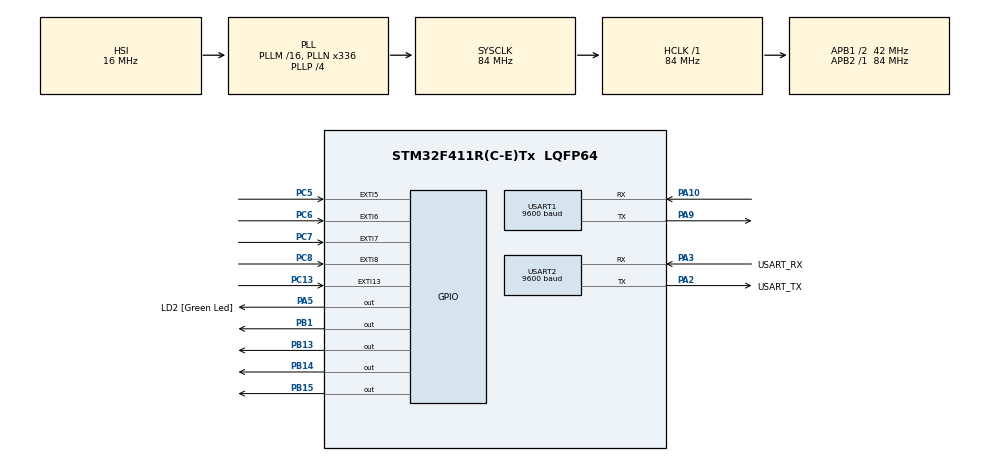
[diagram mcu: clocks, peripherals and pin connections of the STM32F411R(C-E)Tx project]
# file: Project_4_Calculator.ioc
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Mcu.Family=STM32F4
Mcu.Name=STM32F411R(C-E)Tx
Mcu.Package=LQFP64
NVIC.EXTI15_10_IRQn=true\:0\:0\:false\:false\:true\:true\:true
NVIC.EXTI9_5_IRQn=true\:0\:0\:false\:false\:true\:true\:true
NVIC.PriorityGroup=NVIC_PRIORITYGROUP_0
NVIC.TIM3_IRQn=true\:0\:0\:false\:false\:true\:true\:true
NVIC.USART2_IRQn=true\:0\:0\:false\:false\:true\:true\:true
PA10.Mode=Asynchronous
PA10.Signal=USART1_RX
PA13.GPIO_Label=TMS
PA13.Mode=Serial_Wire
PA13.Signal=SYS_JTMS-SWDIO
PA14.GPIO_Label=TCK
PA14.Mode=Serial_Wire
PA14.Signal=SYS_JTCK-SWCLK
PA2.GPIO_Label=USART_TX
PA2.Mode=Asynchronous
PA2.Signal=USART2_TX
PA3.GPIO_Label=USART_RX
PA3.Mode=Asynchronous
PA3.Signal=USART2_RX
PA5.GPIO_Label=LD2 [Green Led]
PA5.GPIO_PuPd=GPIO_PULLDOWN
PA5.Signal=GPIO_Output
PA9.Mode=Asynchronous
PA9.Signal=USART1_TX
PB1.GPIO_PuPd=GPIO_PULLDOWN
PB1.Signal=GPIO_Output
PB13.GPIO_PuPd=GPIO_PULLDOWN
PB13.Signal=GPIO_Output
PB14.GPIO_PuPd=GPIO_PULLDOWN
PB14.Signal=GPIO_Output
PB15.GPIO_PuPd=GPIO_PULLDOWN
PB15.Signal=GPIO_Output
PB3.GPIO_Label=SWO
PB3.Signal=SYS_JTDO-SWO
PC13-ANTI_TAMP.Signal=GPXTI13
PC14-OSC32_IN.Mode=LSE-External-Oscillator
PC14-OSC32_IN.Signal=RCC_OSC32_IN
PC15-OSC32_OUT.Mode=LSE-External-Oscillator
PC15-OSC32_OUT.Signal=RCC_OSC32_OUT
PC5.GPIO_ModeDefaultEXTI=GPIO_MODE_IT_FALLING
PC5.GPIO_PuPd=GPIO_PULLUP
PC5.Signal=GPXTI5
PC6.GPIO_ModeDefaultEXTI=GPIO_MODE_IT_FALLING
PC6.GPIO_PuPd=GPIO_PULLUP
PC6.Signal=GPXTI6
PC7.GPIO_ModeDefaultEXTI=GPIO_MODE_IT_FALLING
PC7.GPIO_PuPd=GPIO_PULLUP
PC7.Signal=GPXTI7
PC8.GPIO_ModeDefaultEXTI=GPIO_MODE_IT_FALLING
PC8.GPIO_PuPd=GPIO_PULLUP
PC8.Signal=GPXTI8
PH0\ -\ OSC_IN.Mode=HSE-External-Clock-Source
PH0\ -\ OSC_IN.Signal=RCC_OSC_IN
PH1\ -\ OSC_OUT.Mode=HSE-External-Clock-Source
PH1\ -\ OSC_OUT.Signal=RCC_OSC_OUT
ProjectManager.HeapSize=0x200
ProjectManager.StackSize=0x400
ProjectManager.TargetToolchain=STM32CubeIDE
RCC.48MHZClocksFreq_Value=84000000
RCC.AHBFreq_Value=84000000
RCC.APB1CLKDivider=RCC_HCLK_DIV2
RCC.APB1Freq_Value=42000000
RCC.APB1TimFreq_Value=84000000
RCC.APB2Freq_Value=84000000
RCC.APB2TimFreq_Value=84000000
RCC.CortexFreq_Value=84000000
RCC.FLatency-AdvancedSettings=FLASH_LATENCY_2
RCC.HCLKFreq_Value=84000000
RCC.HSE_VALUE=8000000
RCC.HSI_VALUE=16000000
RCC.PLLN=336
RCC.PLLP=RCC_PLLP_DIV4
RCC.SYSCLKFreq_VALUE=84000000
RCC.SYSCLKSource=RCC_SYSCLKSOURCE_PLLCLK
RCC.VCOOutputFreq_Value=336000000
USART1.BaudRate=9600
USART1.VirtualMode=VM_ASYNC
USART2.BaudRate=9600
USART2.VirtualMode=VM_ASYNC
VP_TIM3_VS_ClockSourceINT.Mode=Internal
board=NUCLEO-F411RE

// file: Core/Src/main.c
/* USER CODE BEGIN Header */
/**
  ******************************************************************************
  * @file           : main.c
  * @brief          : Main program body
  ******************************************************************************
  * @attention
  *
  * <h2><center>&copy; Copyright (c) 2020 STMicroelectronics.
  * All rights reserved.</center></h2>
  *
  * This software component is licensed by ST under BSD 3-Clause license,
  * the "License"; You may not use this file except in compliance with the
  * License. You may obtain a copy of the License at:
  *                        opensource.org/licenses/BSD-3-Clause
  *
  ******************************************************************************
  */
/* USER CODE END Header */
#include "main.h"

/* USER CODE BEGIN Includes */
#include "string.h"
#include "stdlib.h"
#include "stdbool.h"
#include "float.h"
#include "stdio.h"
#include "memory.h"
#include "stdint.h"
#include "stm32f4xx_hal_rcc.h"
#include "stm32f4xx_hal.h"
#include "stm32f4xx_hal_exti.h"
#include "stm32f4xx_hal_flash_ex.h"
#include "stm32f4xx_hal_flash.h"
#include "stm32f4xx_hal_gpio.h"

/* USER CODE END Includes */

/* USER CODE BEGIN PD */
#define EEPROM_ADDR 0x08008000
#define EEPROM_lastCounterInt (EEPROM_ADDR)
#define FLASH_PROGRAM_BYTE	((uint32_t)0x00)
#define FLASH_PROGRAM_HWORD	((uint32_t)0x01)
#define FLASH_PROGRAM_WORD	((uint32_t)0x02)
/* USER CODE END PD */

TIM_HandleTypeDef htim3;

UART_HandleTypeDef huart1;
UART_HandleTypeDef huart2;

/* USER CODE BEGIN PV */
char keyChar = 0;
uint16_t key = 0;
uint32_t resultInt;

int blueButton = 0;

int step;

/* USER CODE END PV */

void SystemClock_Config(void);
static void MX_GPIO_Init(void);
static void MX_USART2_UART_Init(void);
static void MX_TIM3_Init(void);
static void MX_USART1_UART_Init(void);
/* USER CODE BEGIN PFP */
void screenClear(void);
uint16_t keyPadScan(void);
void writeEEPROM(void);
/* USER CODE END PFP */

/* USER CODE BEGIN 0 */
char allBuffer[8];
char resultString[8];
/* USER CODE END 0 */

int main(void)
{

  /* MCU Configuration--------------------------------------------------------*/

  /* Reset of all peripherals, Initializes the Flash interface and the Systick. */
  HAL_Init();

  /* Configure the system clock */
  SystemClock_Config();

  /* Initialize all configured peripherals */
  MX_GPIO_Init();
  MX_USART2_UART_Init();
  MX_TIM3_Init();
  MX_USART1_UART_Init();
  /* USER CODE BEGIN 2 */

	uint8_t clearInstruction[]={0x7C, 0x2D};
	HAL_UART_Transmit(&huart1, (uint8_t *) clearInstruction, sizeof(clearInstruction), HAL_MAX_DELAY);

	uint8_t screenSettings[]={0x7C, 0xBB};
	HAL_UART_Transmit(&huart1, (uint8_t *) screenSettings, sizeof(screenSettings), HAL_MAX_DELAY);

  char sendMessage[]="Launching Izett_Calc\n";
  char sendMessage2[]="Available functions\n";
  char sendMessage3[]="add, subtract\n\r";
  char sendMessage4[]="multiply, and divide\n";
  char sendMessage5[]="Press '#' to cont...\r\n";
  char sendMessage6[]="Enter first number\r\n";
  char sendMessage7[]="Enter operator\r\n";
  char sendMessage8[]="Enter second number\r\n";
  char sendMessage9[]="Result:\r\n";
  char sendMessage10[]="Undefined";

//  char newLine[]="\r\n";

  screenClear();

  int step;

  float number1 = 0;
  int operation = 0;
  float number2 = 0;
  float result = 0;

  int i = 0;

  char tempNumber = 0;

  step = 0;

  int y = 0;
  int x[10] = {0};
  int n = 0;

  /* USER CODE END 2 */

  /* Infinite loop */
  /* USER CODE BEGIN WHILE */
  while (1)
  {
if(step == 0){
	  HAL_UART_Transmit(&huart1, (uint8_t *) sendMessage, strlen(sendMessage), HAL_MAX_DELAY);
	  HAL_Delay(1000);
	  HAL_UART_Transmit(&huart1, (uint8_t *) sendMessage2, strlen(sendMessage2), HAL_MAX_DELAY);
	  HAL_Delay(1000);
	  HAL_UART_Transmit(&huart1, (uint8_t *) sendMessage3, strlen(sendMessage3), HAL_MAX_DELAY);
	  HAL_Delay(1000);
	  HAL_UART_Transmit(&huart1, (uint8_t *) sendMessage4, strlen(sendMessage4), HAL_MAX_DELAY);
	  HAL_Delay(1000);
	  screenClear();
	  HAL_Delay(100);
	  HAL_UART_Transmit(&huart1, (uint8_t *) sendMessage5, strlen(sendMessage5), HAL_MAX_DELAY);
	  step = 1;
}else if(step == 1){

	  if(keyChar == 35){
	  screenClear();
	  HAL_Delay(100);
	  keyChar = 0;
	  HAL_UART_Transmit(&huart1, (uint8_t *) sendMessage6, strlen(sendMessage6), HAL_MAX_DELAY);
	  step = 2;
	  }
	  }else if(step == 2){
	 // key = keyPadScan();
	  if(keyChar != 0){
		  if(keyChar == 35){
			  screenClear();
			  HAL_Delay(100);
			  keyChar = 0;
			  HAL_UART_Transmit(&huart1, (uint8_t *) sendMessage7, strlen(sendMessage7), HAL_MAX_DELAY);

			  number1 = atof(allBuffer);

			  memset(allBuffer, 0, sizeof(allBuffer));
			  keyChar = 0;
			  tempNumber = 0;
			  i=0;

			  step = 3;

		  }else{
		  tempNumber = keyChar;
		  char type[2];
		  sprintf(type,"%c", keyChar);
		  HAL_UART_Transmit(&huart1, (uint8_t *) type, strlen(type), HAL_MAX_DELAY);
		  HAL_Delay(100);

		  allBuffer[i] = tempNumber;
		  i++;

		  keyChar = 0;
		  }
	  }else if(blueButton == 1){
		  memcpy(&resultInt, (void *) EEPROM_lastCounterInt, sizeof(resultInt));
	  	  HAL_Delay(1000);
    	  number1 = (float)resultInt;
		  HAL_Delay(1000);

		  blueButton = 0;

		  screenClear();
		  HAL_Delay(100);
		  keyChar = 0;
		  HAL_UART_Transmit(&huart1, (uint8_t *) sendMessage7, strlen(sendMessage7), HAL_MAX_DELAY);
		  memset(allBuffer, 0, sizeof(allBuffer));
		  keyChar = 0;
		  tempNumber = 0;
		  i=0;

		  step = 3;
	  }
}else if(step == 3){
	 // key = keyPadScan();
	  if(keyChar != 0){
		  if(keyChar == 35){
			  screenClear();
			  HAL_Delay(100);
			  keyChar = 0;
			  HAL_UART_Transmit(&huart1, (uint8_t *) sendMessage8, strlen(sendMessage8), HAL_MAX_DELAY);

			  n = 0;
			  y = 0;

			  step = 4;
		  }else{
		  tempNumber = keyChar;
		  char type[2];
		  sprintf(type,"%c", keyChar);
		  HAL_UART_Transmit(&huart1, (uint8_t *) type, strlen(type), HAL_MAX_DELAY);
		  HAL_Delay(100);

		  y = (int)(keyChar);
		  x[n] = y;
		  n++;
		  operation = x[0];

		  keyChar = 0;
		  }
	  }
}else if(step == 4){
	 // key = keyPadScan();
	  if(keyChar != 0){
		  if(keyChar == 35){
			  screenClear();
			  HAL_Delay(100);
			  keyChar = 0;
			  HAL_UART_Transmit(&huart1, (uint8_t *) sendMessage9, strlen(sendMessage9), HAL_MAX_DELAY);

			  number2 = atof(allBuffer);

			  memset(allBuffer, 0, sizeof(allBuffer));
			  keyChar = 0;
			  tempNumber = 0;
			  i=0;
			  step = 5;
		  }else{
			  tempNumber = keyChar;
			  char type[2];
			  sprintf(type,"%c", keyChar);
			  HAL_UART_Transmit(&huart1, (uint8_t *) type, strlen(type), HAL_MAX_DELAY);
			  HAL_Delay(100);

			  allBuffer[i] = tempNumber;
			  i++;

			  keyChar = 0;
			  }
	  }else if(blueButton == 1){
		  memcpy(&resultInt, (void *) EEPROM_lastCounterInt, sizeof(resultInt));
	  	  HAL_Delay(1000);
    	  number2 = (float)resultInt;
		  HAL_Delay(1000);

		  blueButton = 0;

		  screenClear();
		  HAL_Delay(100);
		  keyChar = 0;
		  HAL_UART_Transmit(&huart1, (uint8_t *) sendMessage8, strlen(sendMessage8), HAL_MAX_DELAY);
		  memset(allBuffer, 0, sizeof(allBuffer));
		  keyChar = 0;
		  tempNumber = 0;
		  i=0;

		  step = 5;
	  }
}else if(step == 5){
	  if(keyChar == 35){

		  resultInt = result;
		  HAL_Delay(200);
		  writeEEPROM();
		  HAL_Delay(1000);

		  resultInt = 0;
		  screenClear();
		  HAL_Delay(200);
		  result = 0;
		  *resultString = '\0';
		  number1 = 0;
		  number2 = 0;
		  operation = 0;
		  step = 1;
		  tempNumber = 0;
		  i = 0;
		  HAL_Delay(100);
	  }
	    if((operation == 68) & (number2 == 0)){
	    	HAL_UART_Transmit(&huart1, (uint8_t *) sendMessage10, strlen(sendMessage10), HAL_MAX_DELAY);
	    	HAL_Delay(100);
	    	operation = 0;
	    }else if(operation == 65){
	        result = number1 + number2;
	        sprintf(resultString, "%f", result);
	    	HAL_UART_Transmit(&huart1, (uint8_t *) resultString, strlen(resultString), HAL_MAX_DELAY);
	    	HAL_Delay(100);
	    	operation = 0;
	    }else if(operation == 66){
	        result = number1 - number2;
	        sprintf(resultString, "%f", result);
	    	HAL_UART_Transmit(&huart1, (uint8_t *) resultString, strlen(resultString), HAL_MAX_DELAY);
	    	HAL_Delay(100);
	    	operation = 0;
	    }else if(operation == 67){
	        result = number1 * number2;
	        sprintf(resultString, "%f", result);
	    	HAL_UART_Transmit(&huart1, (uint8_t *) resultString, strlen(resultString), HAL_MAX_DELAY);
	    	HAL_Delay(100);
	    	operation = 0;
	    }else if(operation == 68){
	        result = number1 / number2;
	        sprintf(resultString, "%f", result);
	    	HAL_UART_Transmit(&huart1, (uint8_t *) resultString, strlen(resultString), HAL_MAX_DELAY);
	    	HAL_Delay(100);
	    	operation = 0;
	    }
}

    /* USER CODE END WHILE */

  }
}

void SystemClock_Config(void)
{
  RCC_OscInitTypeDef RCC_OscInitStruct = {0};
  RCC_ClkInitTypeDef RCC_ClkInitStruct = {0};

  /** Configure the main internal regulator output voltage
  */
  __HAL_RCC_PWR_CLK_ENABLE();
  __HAL_PWR_VOLTAGESCALING_CONFIG(PWR_REGULATOR_VOLTAGE_SCALE1);
  /** Initializes the RCC Oscillators according to the specified parameters
  * in the RCC_OscInitTypeDef structure.
  */
  RCC_OscInitStruct.OscillatorType = RCC_OSCILLATORTYPE_HSI;
  RCC_OscInitStruct.HSIState = RCC_HSI_ON;
  RCC_OscInitStruct.HSICalibrationValue = RCC_HSICALIBRATION_DEFAULT;
  RCC_OscInitStruct.PLL.PLLState = RCC_PLL_ON;
  RCC_OscInitStruct.PLL.PLLSource = RCC_PLLSOURCE_HSI;
  RCC_OscInitStruct.PLL.PLLM = 16;
  RCC_OscInitStruct.PLL.PLLN = 336;
  RCC_OscInitStruct.PLL.PLLP = RCC_PLLP_DIV4;
  RCC_OscInitStruct.PLL.PLLQ = 4;
  if (HAL_RCC_OscConfig(&RCC_OscInitStruct) != HAL_OK)
  {
    Error_Handler();
  }
  /** Initializes the CPU, AHB and APB buses clocks
  */
  RCC_ClkInitStruct.ClockType = RCC_CLOCKTYPE_HCLK|RCC_CLOCKTYPE_SYSCLK
                              |RCC_CLOCKTYPE_PCLK1|RCC_CLOCKTYPE_PCLK2;
  RCC_ClkInitStruct.SYSCLKSource = RCC_SYSCLKSOURCE_PLLCLK;
  RCC_ClkInitStruct.AHBCLKDivider = RCC_SYSCLK_DIV1;
  RCC_ClkInitStruct.APB1CLKDivider = RCC_HCLK_DIV2;
  RCC_ClkInitStruct.APB2CLKDivider = RCC_HCLK_DIV1;

  if (HAL_RCC_ClockConfig(&RCC_ClkInitStruct, FLASH_LATENCY_2) != HAL_OK)
  {
    Error_Handler();
  }
}

static void MX_TIM3_Init(void)
{

  TIM_ClockConfigTypeDef sClockSourceConfig = {0};
  TIM_MasterConfigTypeDef sMasterConfig = {0};

  htim3.Instance = TIM3;
  htim3.Init.Prescaler = 0;
  htim3.Init.CounterMode = TIM_COUNTERMODE_UP;
  htim3.Init.Period = 65535;
  htim3.Init.ClockDivision = TIM_CLOCKDIVISION_DIV1;
  htim3.Init.AutoReloadPreload = TIM_AUTORELOAD_PRELOAD_DISABLE;
  if (HAL_TIM_Base_Init(&htim3) != HAL_OK)
  {
    Error_Handler();
  }
  sClockSourceConfig.ClockSource = TIM_CLOCKSOURCE_INTERNAL;
  if (HAL_TIM_ConfigClockSource(&htim3, &sClockSourceConfig) != HAL_OK)
  {
    Error_Handler();
  }
  sMasterConfig.MasterOutputTrigger = TIM_TRGO_RESET;
  sMasterConfig.MasterSlaveMode = TIM_MASTERSLAVEMODE_DISABLE;
  if (HAL_TIMEx_MasterConfigSynchronization(&htim3, &sMasterConfig) != HAL_OK)
  {
    Error_Handler();
  }

}

static void MX_USART1_UART_Init(void)
{

  huart1.Instance = USART1;
  huart1.Init.BaudRate = 9600;
  huart1.Init.WordLength = UART_WORDLENGTH_8B;
  huart1.Init.StopBits = UART_STOPBITS_1;
  huart1.Init.Parity = UART_PARITY_NONE;
  huart1.Init.Mode = UART_MODE_TX_RX;
  huart1.Init.HwFlowCtl = UART_HWCONTROL_NONE;
  huart1.Init.OverSampling = UART_OVERSAMPLING_16;
  if (HAL_UART_Init(&huart1) != HAL_OK)
  {
    Error_Handler();
  }

}

static void MX_USART2_UART_Init(void)
{

  huart2.Instance = USART2;
  huart2.Init.BaudRate = 9600;
  huart2.Init.WordLength = UART_WORDLENGTH_8B;
  huart2.Init.StopBits = UART_STOPBITS_1;
  huart2.Init.Parity = UART_PARITY_NONE;
  huart2.Init.Mode = UART_MODE_TX_RX;
  huart2.Init.HwFlowCtl = UART_HWCONTROL_NONE;
  huart2.Init.OverSampling = UART_OVERSAMPLING_16;
  if (HAL_UART_Init(&huart2) != HAL_OK)
  {
    Error_Handler();
  }

}

static void MX_GPIO_Init(void)
{
  GPIO_InitTypeDef GPIO_InitStruct = {0};

  /* GPIO Ports Clock Enable */
  __HAL_RCC_GPIOC_CLK_ENABLE();
  __HAL_RCC_GPIOH_CLK_ENABLE();
  __HAL_RCC_GPIOA_CLK_ENABLE();
  __HAL_RCC_GPIOB_CLK_ENABLE();

  /*Configure GPIO pin Output Level */
  HAL_GPIO_WritePin(LD2_GPIO_Port, LD2_Pin, GPIO_PIN_RESET);

  /*Configure GPIO pin Output Level */
  HAL_GPIO_WritePin(GPIOB, GPIO_PIN_1|GPIO_PIN_13|GPIO_PIN_14|GPIO_PIN_15, GPIO_PIN_RESET);

  /*Configure GPIO pin : PC13 */
  GPIO_InitStruct.Pin = GPIO_PIN_13;
  GPIO_InitStruct.Mode = GPIO_MODE_IT_RISING;
  GPIO_InitStruct.Pull = GPIO_NOPULL;
  HAL_GPIO_Init(GPIOC, &GPIO_InitStruct);

  /*Configure GPIO pin : LD2_Pin */
  GPIO_InitStruct.Pin = LD2_Pin;
  GPIO_InitStruct.Mode = GPIO_MODE_OUTPUT_PP;
  GPIO_InitStruct.Pull = GPIO_PULLDOWN;
  GPIO_InitStruct.Speed = GPIO_SPEED_FREQ_LOW;
  HAL_GPIO_Init(LD2_GPIO_Port, &GPIO_InitStruct);

  /*Configure GPIO pins : PC5 PC6 PC7 PC8 */
  GPIO_InitStruct.Pin = GPIO_PIN_5|GPIO_PIN_6|GPIO_PIN_7|GPIO_PIN_8;
  GPIO_InitStruct.Mode = GPIO_MODE_IT_FALLING;
  GPIO_InitStruct.Pull = GPIO_PULLUP;
  HAL_GPIO_Init(GPIOC, &GPIO_InitStruct);

  /*Configure GPIO pins : PB1 PB13 PB14 PB15 */
  GPIO_InitStruct.Pin = GPIO_PIN_1|GPIO_PIN_13|GPIO_PIN_14|GPIO_PIN_15;
  GPIO_InitStruct.Mode = GPIO_MODE_OUTPUT_PP;
  GPIO_InitStruct.Pull = GPIO_PULLDOWN;
  GPIO_InitStruct.Speed = GPIO_SPEED_FREQ_LOW;
  HAL_GPIO_Init(GPIOB, &GPIO_InitStruct);

  /* EXTI interrupt init*/
  HAL_NVIC_SetPriority(EXTI9_5_IRQn, 0, 0);
  HAL_NVIC_EnableIRQ(EXTI9_5_IRQn);

  HAL_NVIC_SetPriority(EXTI15_10_IRQn, 0, 0);
  HAL_NVIC_EnableIRQ(EXTI15_10_IRQn);

}

/* USER CODE BEGIN 4 */
void screenClear(void){
	uint8_t clearInstruction[]={0x7C, 0x2D};
	HAL_UART_Transmit(&huart1, (uint8_t *) clearInstruction, sizeof(clearInstruction), HAL_MAX_DELAY);

}

uint16_t keyPadScan(void){

	return 0;

}

void writeEEPROM(void){

	  HAL_FLASH_Unlock();
	  __HAL_FLASH_CLEAR_FLAG(FLASH_FLAG_EOP | FLASH_FLAG_OPERR | FLASH_FLAG_WRPERR | FLASH_FLAG_PGAERR | FLASH_FLAG_PGSERR | FLASH_FLAG_PGPERR);

	  FLASH_Erase_Sector(FLASH_SECTOR_2, FLASH_VOLTAGE_RANGE_1);

	  HAL_FLASH_Program(TYPEPROGRAM_WORD, EEPROM_lastCounterInt, *(uint32_t *)&resultInt);
	  HAL_Delay(1000);
	  HAL_FLASH_Lock();

}
/* USER CODE END 4 */

void Error_Handler(void)
{
}

/************************ (C) COPYRIGHT STMicroelectronics *****END OF FILE****/
